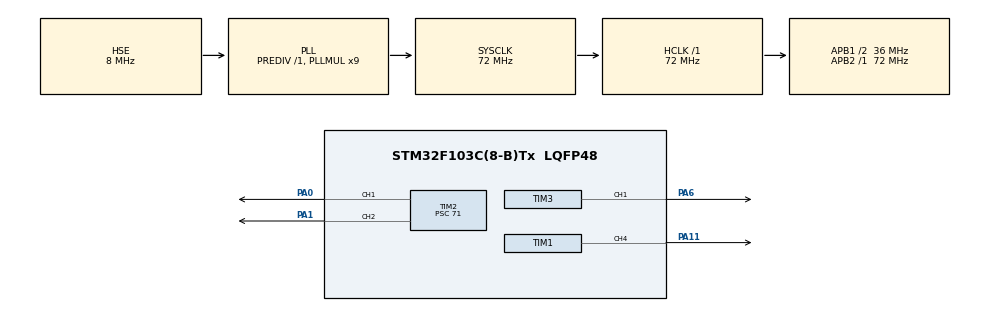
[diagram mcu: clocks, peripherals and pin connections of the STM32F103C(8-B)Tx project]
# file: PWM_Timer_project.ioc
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Mcu.Family=STM32F1
RCC.PLLSourceVirtual=RCC_PLLSOURCE_HSE
SH.S_TIM1_CH4.0=TIM1_CH4,PWM Generation4 CH4
PD1-OSC_OUT.Mode=HSE-External-Oscillator
PD0-OSC_IN.Signal=RCC_OSC_IN
TIM2.Channel-PWM\ Generation2\ CH2=TIM_CHANNEL_2
RCC.APB1CLKDivider=RCC_HCLK_DIV2
RCC.SYSCLKSource=RCC_SYSCLKSOURCE_PLLCLK
ProjectManager.StackSize=0x400
PA0-WKUP.Signal=S_TIM2_CH1_ETR
PD1-OSC_OUT.Signal=RCC_OSC_OUT
PA13.Signal=SYS_JTMS-SWDIO
SH.S_TIM2_CH2.0=TIM2_CH2,PWM Generation2 CH2
TIM1.Prescaler=71
TIM3.Pulse-PWM\ Generation1\ CH1=10000
ProjectManager.TargetToolchain=STM32CubeIDE
TIM1.Channel-PWM\ Generation4\ CH4=TIM_CHANNEL_4
RCC.HCLKFreq_Value=72000000
RCC.APB2TimFreq_Value=72000000
TIM3.Period=19999
RCC.USBFreq_Value=72000000
PA1.Signal=S_TIM2_CH2
RCC.AHBFreq_Value=72000000
TIM3.Channel-PWM\ Generation1\ CH1=TIM_CHANNEL_1
PD0-OSC_IN.Mode=HSE-External-Oscillator
board=custom
RCC.PLLMUL=RCC_PLL_MUL9
RCC.APB2Freq_Value=72000000
VP_TIM2_VS_ClockSourceINT.Mode=Internal
PA14.Mode=Serial_Wire
TIM3.Prescaler=71
TIM2.Channel-PWM\ Generation1\ CH1=TIM_CHANNEL_1
SH.S_TIM3_CH1.0=TIM3_CH1,PWM Generation1 CH1
TIM2.Period=999
PA13.Mode=Serial_Wire
Mcu.Name=STM32F103C(8-B)Tx
VP_TIM1_VS_ClockSourceINT.Mode=Internal
RCC.SYSCLKFreq_VALUE=72000000
Mcu.Package=LQFP48
TIM2.Prescaler=71
PA6.Signal=S_TIM3_CH1
PA11.Signal=S_TIM1_CH4
SH.S_TIM2_CH1_ETR.0=TIM2_CH1,PWM Generation1 CH1
PA14.Signal=SYS_JTCK-SWCLK
ProjectManager.HeapSize=0x200
TIM1.Pulse-PWM\ Generation4\ CH4=25
TIM2.Pulse-PWM\ Generation2\ CH2=25
NVIC.PriorityGroup=NVIC_PRIORITYGROUP_4
RCC.APB1TimFreq_Value=72000000
TIM1.Period=49
RCC.APB1Freq_Value=36000000

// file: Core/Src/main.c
/* USER CODE BEGIN Header */
/**
  ******************************************************************************
  * @file           : main.c
  * @brief          : Main program body
  ******************************************************************************
  * @attention
  *
  * <h2><center>&copy; Copyright (c) 2026 STMicroelectronics.
  * All rights reserved.</center></h2>
  *
  * This software component is licensed by ST under BSD 3-Clause license,
  * the "License"; You may not use this file except in compliance with the
  * License. You may obtain a copy of the License at:
  *                        opensource.org/licenses/BSD-3-Clause
  *
  ******************************************************************************
  */
/* USER CODE END Header */
#include "main.h"

TIM_HandleTypeDef htim1;
TIM_HandleTypeDef htim2;
TIM_HandleTypeDef htim3;

void SystemClock_Config(void);
static void MX_GPIO_Init(void);
static void MX_TIM1_Init(void);
static void MX_TIM2_Init(void);
static void MX_TIM3_Init(void);

/* USER CODE BEGIN 0 */
 uint32_t lastTick = 0;
/* USER CODE END 0 */

int main(void)
{

  /* MCU Configuration--------------------------------------------------------*/

  /* Reset of all peripherals, Initializes the Flash interface and the Systick. */
  HAL_Init();

  /* Configure the system clock */
  SystemClock_Config();

  /* Initialize all configured peripherals */
  MX_GPIO_Init();
  MX_TIM1_Init();
  MX_TIM2_Init();
  MX_TIM3_Init();
  /* USER CODE BEGIN 2 */
  HAL_TIM_PWM_Start(&htim1, TIM_CHANNEL_4);   // Motor
  HAL_TIM_PWM_Start(&htim2, TIM_CHANNEL_1);   // LED1
  HAL_TIM_PWM_Start(&htim2, TIM_CHANNEL_2);   // LED2
  HAL_TIM_PWM_Start(&htim3, TIM_CHANNEL_1);   // Servo / example
  /* USER CODE END 2 */

  /* Infinite loop */
  /* USER CODE BEGIN WHILE */
  while (1)
  {
	  if ((uwTick - lastTick) >= 50)
	  {
	      lastTick = uwTick;

	      static uint16_t duty1 = 0;
	      static uint16_t duty2 = 0;

	      duty1 += 10;
	      duty2 += 5;

	      if (duty1 >= 999) duty1 = 0;
	      if (duty2 >= 999) duty2 = 0;

	      __HAL_TIM_SET_COMPARE(&htim2, TIM_CHANNEL_1, duty1);
	      __HAL_TIM_SET_COMPARE(&htim2, TIM_CHANNEL_2, duty2);
	  }

    /* USER CODE END WHILE */

  }
}

void SystemClock_Config(void)
{
  RCC_OscInitTypeDef RCC_OscInitStruct = {0};
  RCC_ClkInitTypeDef RCC_ClkInitStruct = {0};

  /** Initializes the RCC Oscillators according to the specified parameters
  * in the RCC_OscInitTypeDef structure.
  */
  RCC_OscInitStruct.OscillatorType = RCC_OSCILLATORTYPE_HSE;
  RCC_OscInitStruct.HSEState = RCC_HSE_ON;
  RCC_OscInitStruct.HSEPredivValue = RCC_HSE_PREDIV_DIV1;
  RCC_OscInitStruct.HSIState = RCC_HSI_ON;
  RCC_OscInitStruct.PLL.PLLState = RCC_PLL_ON;
  RCC_OscInitStruct.PLL.PLLSource = RCC_PLLSOURCE_HSE;
  RCC_OscInitStruct.PLL.PLLMUL = RCC_PLL_MUL9;
  if (HAL_RCC_OscConfig(&RCC_OscInitStruct) != HAL_OK)
  {
    Error_Handler();
  }
  /** Initializes the CPU, AHB and APB buses clocks
  */
  RCC_ClkInitStruct.ClockType = RCC_CLOCKTYPE_HCLK|RCC_CLOCKTYPE_SYSCLK
                              |RCC_CLOCKTYPE_PCLK1|RCC_CLOCKTYPE_PCLK2;
  RCC_ClkInitStruct.SYSCLKSource = RCC_SYSCLKSOURCE_PLLCLK;
  RCC_ClkInitStruct.AHBCLKDivider = RCC_SYSCLK_DIV1;
  RCC_ClkInitStruct.APB1CLKDivider = RCC_HCLK_DIV2;
  RCC_ClkInitStruct.APB2CLKDivider = RCC_HCLK_DIV1;

  if (HAL_RCC_ClockConfig(&RCC_ClkInitStruct, FLASH_LATENCY_2) != HAL_OK)
  {
    Error_Handler();
  }
}

static void MX_TIM1_Init(void)
{

  TIM_ClockConfigTypeDef sClockSourceConfig = {0};
  TIM_MasterConfigTypeDef sMasterConfig = {0};
  TIM_OC_InitTypeDef sConfigOC = {0};
  TIM_BreakDeadTimeConfigTypeDef sBreakDeadTimeConfig = {0};

  htim1.Instance = TIM1;
  htim1.Init.Prescaler = 71;
  htim1.Init.CounterMode = TIM_COUNTERMODE_UP;
  htim1.Init.Period = 49;
  htim1.Init.ClockDivision = TIM_CLOCKDIVISION_DIV1;
  htim1.Init.RepetitionCounter = 0;
  htim1.Init.AutoReloadPreload = TIM_AUTORELOAD_PRELOAD_DISABLE;
  if (HAL_TIM_Base_Init(&htim1) != HAL_OK)
  {
    Error_Handler();
  }
  sClockSourceConfig.ClockSource = TIM_CLOCKSOURCE_INTERNAL;
  if (HAL_TIM_ConfigClockSource(&htim1, &sClockSourceConfig) != HAL_OK)
  {
    Error_Handler();
  }
  if (HAL_TIM_PWM_Init(&htim1) != HAL_OK)
  {
    Error_Handler();
  }
  sMasterConfig.MasterOutputTrigger = TIM_TRGO_RESET;
  sMasterConfig.MasterSlaveMode = TIM_MASTERSLAVEMODE_DISABLE;
  if (HAL_TIMEx_MasterConfigSynchronization(&htim1, &sMasterConfig) != HAL_OK)
  {
    Error_Handler();
  }
  sConfigOC.OCMode = TIM_OCMODE_PWM1;
  sConfigOC.Pulse = 25;
  sConfigOC.OCPolarity = TIM_OCPOLARITY_HIGH;
  sConfigOC.OCFastMode = TIM_OCFAST_DISABLE;
  sConfigOC.OCIdleState = TIM_OCIDLESTATE_RESET;
  sConfigOC.OCNIdleState = TIM_OCNIDLESTATE_RESET;
  if (HAL_TIM_PWM_ConfigChannel(&htim1, &sConfigOC, TIM_CHANNEL_4) != HAL_OK)
  {
    Error_Handler();
  }
  sBreakDeadTimeConfig.OffStateRunMode = TIM_OSSR_DISABLE;
  sBreakDeadTimeConfig.OffStateIDLEMode = TIM_OSSI_DISABLE;
  sBreakDeadTimeConfig.LockLevel = TIM_LOCKLEVEL_OFF;
  sBreakDeadTimeConfig.DeadTime = 0;
  sBreakDeadTimeConfig.BreakState = TIM_BREAK_DISABLE;
  sBreakDeadTimeConfig.BreakPolarity = TIM_BREAKPOLARITY_HIGH;
  sBreakDeadTimeConfig.AutomaticOutput = TIM_AUTOMATICOUTPUT_DISABLE;
  if (HAL_TIMEx_ConfigBreakDeadTime(&htim1, &sBreakDeadTimeConfig) != HAL_OK)
  {
    Error_Handler();
  }
  HAL_TIM_MspPostInit(&htim1);

}

static void MX_TIM2_Init(void)
{

  TIM_ClockConfigTypeDef sClockSourceConfig = {0};
  TIM_MasterConfigTypeDef sMasterConfig = {0};
  TIM_OC_InitTypeDef sConfigOC = {0};

  htim2.Instance = TIM2;
  htim2.Init.Prescaler = 71;
  htim2.Init.CounterMode = TIM_COUNTERMODE_UP;
  htim2.Init.Period = 999;
  htim2.Init.ClockDivision = TIM_CLOCKDIVISION_DIV1;
  htim2.Init.AutoReloadPreload = TIM_AUTORELOAD_PRELOAD_DISABLE;
  if (HAL_TIM_Base_Init(&htim2) != HAL_OK)
  {
    Error_Handler();
  }
  sClockSourceConfig.ClockSource = TIM_CLOCKSOURCE_INTERNAL;
  if (HAL_TIM_ConfigClockSource(&htim2, &sClockSourceConfig) != HAL_OK)
  {
    Error_Handler();
  }
  if (HAL_TIM_PWM_Init(&htim2) != HAL_OK)
  {
    Error_Handler();
  }
  sMasterConfig.MasterOutputTrigger = TIM_TRGO_RESET;
  sMasterConfig.MasterSlaveMode = TIM_MASTERSLAVEMODE_DISABLE;
  if (HAL_TIMEx_MasterConfigSynchronization(&htim2, &sMasterConfig) != HAL_OK)
  {
    Error_Handler();
  }
  sConfigOC.OCMode = TIM_OCMODE_PWM1;
  sConfigOC.Pulse = 0;
  sConfigOC.OCPolarity = TIM_OCPOLARITY_HIGH;
  sConfigOC.OCFastMode = TIM_OCFAST_DISABLE;
  if (HAL_TIM_PWM_ConfigChannel(&htim2, &sConfigOC, TIM_CHANNEL_1) != HAL_OK)
  {
    Error_Handler();
  }
  sConfigOC.Pulse = 25;
  if (HAL_TIM_PWM_ConfigChannel(&htim2, &sConfigOC, TIM_CHANNEL_2) != HAL_OK)
  {
    Error_Handler();
  }
  HAL_TIM_MspPostInit(&htim2);

}

static void MX_TIM3_Init(void)
{

  TIM_MasterConfigTypeDef sMasterConfig = {0};
  TIM_OC_InitTypeDef sConfigOC = {0};

  htim3.Instance = TIM3;
  htim3.Init.Prescaler = 71;
  htim3.Init.CounterMode = TIM_COUNTERMODE_UP;
  htim3.Init.Period = 19999;
  htim3.Init.ClockDivision = TIM_CLOCKDIVISION_DIV1;
  htim3.Init.AutoReloadPreload = TIM_AUTORELOAD_PRELOAD_DISABLE;
  if (HAL_TIM_PWM_Init(&htim3) != HAL_OK)
  {
    Error_Handler();
  }
  sMasterConfig.MasterOutputTrigger = TIM_TRGO_RESET;
  sMasterConfig.MasterSlaveMode = TIM_MASTERSLAVEMODE_DISABLE;
  if (HAL_TIMEx_MasterConfigSynchronization(&htim3, &sMasterConfig) != HAL_OK)
  {
    Error_Handler();
  }
  sConfigOC.OCMode = TIM_OCMODE_PWM1;
  sConfigOC.Pulse = 10000;
  sConfigOC.OCPolarity = TIM_OCPOLARITY_HIGH;
  sConfigOC.OCFastMode = TIM_OCFAST_DISABLE;
  if (HAL_TIM_PWM_ConfigChannel(&htim3, &sConfigOC, TIM_CHANNEL_1) != HAL_OK)
  {
    Error_Handler();
  }
  HAL_TIM_MspPostInit(&htim3);

}

static void MX_GPIO_Init(void)
{

  /* GPIO Ports Clock Enable */
  __HAL_RCC_GPIOD_CLK_ENABLE();
  __HAL_RCC_GPIOA_CLK_ENABLE();

}

void Error_Handler(void)
{
  __disable_irq();
  while (1)
  {
  }
}

/************************ (C) COPYRIGHT STMicroelectronics *****END OF FILE****/
